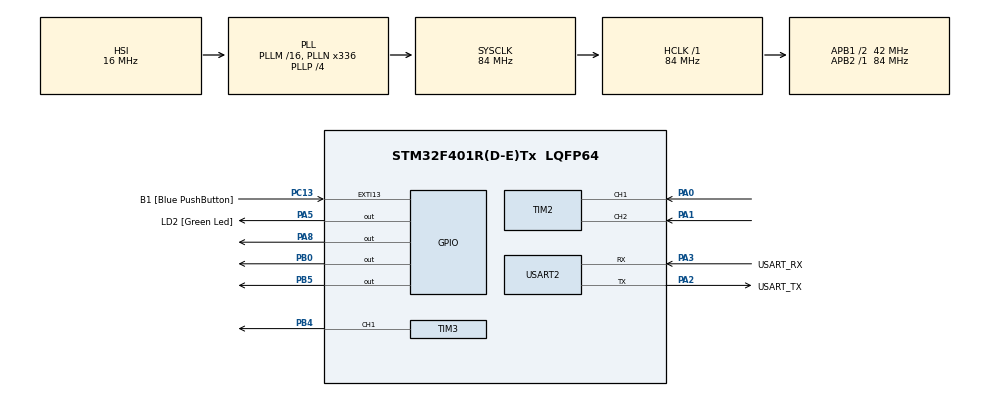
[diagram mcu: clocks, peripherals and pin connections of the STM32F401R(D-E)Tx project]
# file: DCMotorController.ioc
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Mcu.Family=STM32F4
Mcu.Name=STM32F401R(D-E)Tx
Mcu.Package=LQFP64
NVIC.PriorityGroup=NVIC_PRIORITYGROUP_4
PA0-WKUP.Signal=S_TIM2_CH1_ETR
PA1.Signal=S_TIM2_CH2
PA13.GPIO_Label=TMS
PA13.Mode=Serial_Wire
PA13.Signal=SYS_JTMS-SWDIO
PA14.GPIO_Label=TCK
PA14.Mode=Serial_Wire
PA14.Signal=SYS_JTCK-SWCLK
PA2.GPIO_Label=USART_TX
PA2.GPIO_Mode=GPIO_MODE_AF_PP
PA2.GPIO_PuPd=GPIO_NOPULL
PA2.GPIO_Speed=GPIO_SPEED_FREQ_LOW
PA2.Mode=Asynchronous
PA2.Signal=USART2_TX
PA3.GPIO_Label=USART_RX
PA3.GPIO_Mode=GPIO_MODE_AF_PP
PA3.GPIO_PuPd=GPIO_NOPULL
PA3.GPIO_Speed=GPIO_SPEED_FREQ_LOW
PA3.Mode=Asynchronous
PA3.Signal=USART2_RX
PA5.GPIO_Label=LD2 [Green Led]
PA5.GPIO_Mode=GPIO_MODE_OUTPUT_PP
PA5.GPIO_PuPd=GPIO_NOPULL
PA5.GPIO_Speed=GPIO_SPEED_FREQ_LOW
PA5.Signal=GPIO_Output
PA8.Signal=GPIO_Output
PB0.Signal=GPIO_Output
PB3.GPIO_Label=SWO
PB3.Signal=SYS_JTDO-SWO
PB4.Signal=S_TIM3_CH1
PB5.Signal=GPIO_Output
PC13-ANTI_TAMP.GPIO_Label=B1 [Blue PushButton]
PC13-ANTI_TAMP.GPIO_ModeDefaultEXTI=GPIO_MODE_IT_FALLING
PC13-ANTI_TAMP.GPIO_PuPd=GPIO_NOPULL
PC13-ANTI_TAMP.Signal=GPXTI13
PC14-OSC32_IN.Mode=LSE-External-Oscillator
PC14-OSC32_IN.Signal=RCC_OSC32_IN
PC15-OSC32_OUT.Mode=LSE-External-Oscillator
PC15-OSC32_OUT.Signal=RCC_OSC32_OUT
PH0\ -\ OSC_IN.Mode=HSE-External-Clock-Source
PH0\ -\ OSC_IN.Signal=RCC_OSC_IN
PH1\ -\ OSC_OUT.Mode=HSE-External-Clock-Source
PH1\ -\ OSC_OUT.Signal=RCC_OSC_OUT
ProjectManager.HeapSize=0x200
ProjectManager.StackSize=0x400
ProjectManager.TargetToolchain=STM32CubeIDE
RCC.48MHZClocksFreq_Value=48000000
RCC.AHBFreq_Value=84000000
RCC.APB1CLKDivider=RCC_HCLK_DIV2
RCC.APB1Freq_Value=42000000
RCC.APB1TimFreq_Value=84000000
RCC.APB2Freq_Value=84000000
RCC.APB2TimFreq_Value=84000000
RCC.CortexFreq_Value=84000000
RCC.HCLKFreq_Value=84000000
RCC.HSE_VALUE=8000000
RCC.HSI_VALUE=16000000
RCC.PLLN=336
RCC.PLLP=RCC_PLLP_DIV4
RCC.PLLQ=7
RCC.SYSCLKFreq_VALUE=84000000
RCC.SYSCLKSource=RCC_SYSCLKSOURCE_PLLCLK
RCC.VCOOutputFreq_Value=336000000
SH.S_TIM2_CH1_ETR.0=TIM2_CH1,Encoder_Interface
SH.S_TIM2_CH2.0=TIM2_CH2,Encoder_Interface
SH.S_TIM3_CH1.0=TIM3_CH1,PWM Generation1 CH1
TIM2.EncoderMode=TIM_ENCODERMODE_TI12
TIM2.IC1Filter=8
TIM2.IC2Filter=8
TIM3.Channel-PWM\ Generation1\ CH1=TIM_CHANNEL_1
TIM3.Period=4199
USART2.VirtualMode=VM_ASYNC
VP_TIM3_VS_ClockSourceINT.Mode=Internal
board=NUCLEO-F401RE

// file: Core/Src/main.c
/* USER CODE BEGIN Header */
/**
  ******************************************************************************
  * @file           : main.c
  * @brief          : Main program body
  ******************************************************************************
  * @attention
  *
  * Copyright (c) 2026 STMicroelectronics.
  * All rights reserved.
  *
  * This software is licensed under terms that can be found in the LICENSE file
  * in the root directory of this software component.
  * If no LICENSE file comes with this software, it is provided AS-IS.
  *
  ******************************************************************************
  */
/* USER CODE END Header */
#include "main.h"

/* USER CODE BEGIN Includes */
#include <stdio.h>
/* USER CODE END Includes */

/* USER CODE BEGIN PD */
#define COUNTS_PER_MOTOR_REV       12.0f // encoder counts for one motor turn
#define CONTROL_PERIOD_MS          150U // update motor speed every 150 ms
#define GEAR_RATIO                 235.0f
#define COUNTS_PER_OUTPUT_REV      (COUNTS_PER_MOTOR_REV * GEAR_RATIO) // encoder counts for one output shaft turn

#define KP_PWM_PER_RPM             0.50f // P control reacts to current speed error
#define PWM_MIN_RUNNING_PERCENT    20.0f
#define PWM_MAX_RUNNING_PERCENT    80.0f
#define KI_PWM_PER_RPM_SECOND      0.20f // I control corrects error left over time
#define INTEGRAL_ERROR_LIMIT_RPM_S 25.0f // stops I control growing too large

#define STEP_HOLD_MS               10000U // keep each target speed for 10 seconds
#define MOTOR_TEST_DURATION_MS     (4U * STEP_HOLD_MS) // run four speed steps for 40 seconds

#define TARGET_LOW_RPM             30.0f // low speed target
#define TARGET_MEDIUM_RPM          40.0f // medium speed target
#define TARGET_HIGH_RPM            50.0f // high speed target

#define PWM_FF_LOW_PERCENT         43.0f // starting PWM found for 30 RPM
#define PWM_FF_MEDIUM_PERCENT      55.0f // starting PWM found for 40 RPM
#define PWM_FF_HIGH_PERCENT        66.0f // starting PWM found for 50 RPM
/* USER CODE END PD */

TIM_HandleTypeDef htim2;
TIM_HandleTypeDef htim3;

UART_HandleTypeDef huart2;

/* USER CODE BEGIN PV */
int32_t encoder_count = 0; // current encoder reading
int32_t previous_encoder_count = 0; // encoder reading from last update

float target_rpm = 0.0f; // speed the motor should reach
float actual_rpm = 0.0f; // speed measured from encoder
float speed_error_rpm = 0.0f; // difference between target and actual speed
float pwm_command_percent = 0.0f; // PWM worked out by controller
float integral_error_rpm_s = 0.0f; // speed error saved over time
float integral_term_percent = 0.0f; // I control correction in PWM percent

uint32_t previous_sample_time_ms = 0;
uint32_t motor_start_time_ms = 0;

uint8_t current_pwm_duty = 0U; // PWM currently sent to motor
uint8_t motor_test_running = 0U; // 1 while automatic test is running

float pwm_feedforward_percent = 0.0f; // starting PWM for current target speed
/* USER CODE END PV */

void SystemClock_Config(void);
static void MX_GPIO_Init(void);
static void MX_USART2_UART_Init(void);
static void MX_TIM2_Init(void);
static void MX_TIM3_Init(void);
/* USER CODE BEGIN PFP */
static void set_motor_pwm(uint8_t duty_percent);
static void motor_forward(void);
static void motor_reverse(void);
static void motor_stop(void);
/* USER CODE END PFP */

/* USER CODE BEGIN 0 */
static void set_motor_pwm(uint8_t duty_percent) // changes duty percent into timer compare value
{
  if (duty_percent > 100U)
  {
    duty_percent = 100U;
  }

  uint32_t compare_value =
      ((uint32_t)duty_percent * 4200U) / 100U;

  __HAL_TIM_SET_COMPARE(&htim3,
                        TIM_CHANNEL_1,
                        compare_value);
}

static void motor_forward(void) // sets driver pins for forward direction
{

  set_motor_pwm(0U);

  HAL_GPIO_WritePin(GPIOB, GPIO_PIN_0, GPIO_PIN_SET);
  HAL_GPIO_WritePin(GPIOB, GPIO_PIN_5, GPIO_PIN_RESET);
  HAL_GPIO_WritePin(GPIOA, GPIO_PIN_8, GPIO_PIN_SET);
}

static void motor_reverse(void) // sets driver pins for reverse direction
{

  set_motor_pwm(0U);

  HAL_GPIO_WritePin(GPIOB, GPIO_PIN_0, GPIO_PIN_RESET);
  HAL_GPIO_WritePin(GPIOB, GPIO_PIN_5, GPIO_PIN_SET);
  HAL_GPIO_WritePin(GPIOA, GPIO_PIN_8, GPIO_PIN_SET);
}

static void motor_stop(void) // stops PWM and disables motor driver
{

  set_motor_pwm(0U);

  HAL_GPIO_WritePin(GPIOA, GPIO_PIN_8, GPIO_PIN_RESET);

  HAL_GPIO_WritePin(GPIOB,
                    GPIO_PIN_0 | GPIO_PIN_5,
                    GPIO_PIN_RESET);
}
/* USER CODE END 0 */

int main(void)
{

  /* MCU Configuration--------------------------------------------------------*/

  /* Reset of all peripherals, Initializes the Flash interface and the Systick. */
  HAL_Init();

  /* Configure the system clock */
  SystemClock_Config();

  /* Initialize all configured peripherals */
  MX_GPIO_Init();
  MX_USART2_UART_Init();
  MX_TIM2_Init();
  MX_TIM3_Init();
  /* USER CODE BEGIN 2 */

  motor_stop(); // keep motor off during setup

  // start the encoder counter
  if (HAL_TIM_Encoder_Start(&htim2, TIM_CHANNEL_ALL) != HAL_OK)
  {
    Error_Handler();
  }

  // start the PWM output
  if (HAL_TIM_PWM_Start(&htim3, TIM_CHANNEL_1) != HAL_OK)
  {
    Error_Handler();
  }

  target_rpm = TARGET_LOW_RPM; // start with 30 RPM target
  pwm_feedforward_percent = PWM_FF_LOW_PERCENT; // use starting PWM found for 30 RPM

  printf("timestamp_ms,target_rpm,actual_rpm,error_rpm,i_term_percent,pwm_duty\r\n"); // send CSV headings to Python

  HAL_Delay(3000);

  __HAL_TIM_SET_COUNTER(&htim2, 0); // clear old encoder count before test
  previous_encoder_count = 0;
  previous_sample_time_ms = HAL_GetTick();
  integral_error_rpm_s = 0.0f;
  integral_term_percent = 0.0f;

  motor_forward(); // choose forward direction

  pwm_command_percent = pwm_feedforward_percent;

  current_pwm_duty =
      (uint8_t)(pwm_command_percent + 0.5f);

  set_motor_pwm(current_pwm_duty); // start motor with low speed PWM

  motor_start_time_ms = HAL_GetTick(); // save when the 40 second test starts
  motor_test_running = 1U; // allow automatic speed test to run
  /* USER CODE END 2 */

  /* Infinite loop */
  while (1)
  {

    /* USER CODE BEGIN 3 */

	  uint32_t now_ms = HAL_GetTick(); // read current time

	  if (motor_test_running != 0U) // only choose targets while test is running
	  {
	      uint32_t test_elapsed_ms =
	          now_ms - motor_start_time_ms;

	      if (test_elapsed_ms < STEP_HOLD_MS)
	      {
	          target_rpm = TARGET_LOW_RPM; // run at 30 RPM for first 10 seconds
	          pwm_feedforward_percent =
	              PWM_FF_LOW_PERCENT;
	      }
	      else if (test_elapsed_ms <
	               (2U * STEP_HOLD_MS))
	      {
	          target_rpm = TARGET_MEDIUM_RPM; // run at 40 RPM for next 10 seconds
	          pwm_feedforward_percent =
	              PWM_FF_MEDIUM_PERCENT;
	      }
	      else if (test_elapsed_ms <
	               (3U * STEP_HOLD_MS))
	      {
	          target_rpm = TARGET_HIGH_RPM; // run at 50 RPM for next 10 seconds
	          pwm_feedforward_percent =
	              PWM_FF_HIGH_PERCENT;
	      }
	      else
	      {
	          target_rpm = TARGET_LOW_RPM; // return to 30 RPM for final 10 seconds
	          pwm_feedforward_percent =
	              PWM_FF_LOW_PERCENT;
	      }
	  }
	  // measure speed every 150 ms and update PI while running
	      if ((now_ms - previous_sample_time_ms) >= CONTROL_PERIOD_MS)
	      {
	    	  // read current encoder count
	          encoder_count =
	              (int32_t)__HAL_TIM_GET_COUNTER(&htim2);

	          // find encoder movement since last update
	          int32_t delta_counts =
	              encoder_count - previous_encoder_count;

	          uint32_t elapsed_ms =
	              now_ms - previous_sample_time_ms;

	          float elapsed_seconds =
	              (float)elapsed_ms / 1000.0f;

	          // change encoder movement into output shaft RPM
	          actual_rpm =
	              ((float)delta_counts * 60000.0f) /
	              (COUNTS_PER_OUTPUT_REV * (float)elapsed_ms);

	          speed_error_rpm =
	              target_rpm - actual_rpm;

	          if (motor_test_running != 0U)
	          {
	              // add speed error over time for I control
	              integral_error_rpm_s +=
	                  speed_error_rpm * elapsed_seconds;

	              // keep saved error between safe limits
	              if (integral_error_rpm_s >
	                  INTEGRAL_ERROR_LIMIT_RPM_S)
	              {
	                  integral_error_rpm_s =
	                      INTEGRAL_ERROR_LIMIT_RPM_S;
	              }
	              else if (integral_error_rpm_s <
	                       (-INTEGRAL_ERROR_LIMIT_RPM_S))
	              {
	                  integral_error_rpm_s =
	                      -INTEGRAL_ERROR_LIMIT_RPM_S;
	              }

	              integral_term_percent =
	                  KI_PWM_PER_RPM_SECOND *
	                  integral_error_rpm_s;

	              // use starting PWM plus P and I corrections
	              pwm_command_percent =
	                  pwm_feedforward_percent +
	                  (KP_PWM_PER_RPM * speed_error_rpm) +
	                  integral_term_percent;
	              // keep running PWM between 20 and 80 percent
	              if (pwm_command_percent >
	                  PWM_MAX_RUNNING_PERCENT)
	              {
	                  pwm_command_percent =
	                      PWM_MAX_RUNNING_PERCENT;
	              }
	              else if (pwm_command_percent <
	                       PWM_MIN_RUNNING_PERCENT)
	              {
	                  pwm_command_percent =
	                      PWM_MIN_RUNNING_PERCENT;
	              }

	              current_pwm_duty =
	                  (uint8_t)(pwm_command_percent + 0.5f);

	              set_motor_pwm(current_pwm_duty);
	          }
	          // send one CSV row to Python
	          printf("%lu,%.1f,%.1f,%.1f,%.2f,%u\r\n",
	                 (unsigned long)now_ms,
	                 target_rpm,
	                 actual_rpm,
	                 speed_error_rpm,
	                 integral_term_percent,
	                 (unsigned int)current_pwm_duty);

	          previous_encoder_count = encoder_count; // save encoder count for next update
	          previous_sample_time_ms = now_ms; // save time for next update
	      }
	      // stop motor after 40 seconds
	      if ((motor_test_running != 0U) &&
	          ((now_ms - motor_start_time_ms) >=
	           MOTOR_TEST_DURATION_MS))
	      {
	          motor_stop();

	          target_rpm = 0.0f; // show 0 RPM target after motor stops
	          pwm_feedforward_percent = 0.0f; // clear starting PWM after test

	          pwm_command_percent = 0.0f;
	          integral_error_rpm_s = 0.0f;
	          integral_term_percent = 0.0f;
	          current_pwm_duty = 0U;
	          motor_test_running = 0U;
	      }
	  }
  /* USER CODE END 3 */
}

void SystemClock_Config(void)
{
  RCC_OscInitTypeDef RCC_OscInitStruct = {0};
  RCC_ClkInitTypeDef RCC_ClkInitStruct = {0};

  /** Configure the main internal regulator output voltage
  */
  __HAL_RCC_PWR_CLK_ENABLE();
  __HAL_PWR_VOLTAGESCALING_CONFIG(PWR_REGULATOR_VOLTAGE_SCALE2);

  /** Initializes the RCC Oscillators according to the specified parameters
  * in the RCC_OscInitTypeDef structure.
  */
  RCC_OscInitStruct.OscillatorType = RCC_OSCILLATORTYPE_HSI;
  RCC_OscInitStruct.HSIState = RCC_HSI_ON;
  RCC_OscInitStruct.HSICalibrationValue = RCC_HSICALIBRATION_DEFAULT;
  RCC_OscInitStruct.PLL.PLLState = RCC_PLL_ON;
  RCC_OscInitStruct.PLL.PLLSource = RCC_PLLSOURCE_HSI;
  RCC_OscInitStruct.PLL.PLLM = 16;
  RCC_OscInitStruct.PLL.PLLN = 336;
  RCC_OscInitStruct.PLL.PLLP = RCC_PLLP_DIV4;
  RCC_OscInitStruct.PLL.PLLQ = 7;
  if (HAL_RCC_OscConfig(&RCC_OscInitStruct) != HAL_OK)
  {
    Error_Handler();
  }

  /** Initializes the CPU, AHB and APB buses clocks
  */
  RCC_ClkInitStruct.ClockType = RCC_CLOCKTYPE_HCLK|RCC_CLOCKTYPE_SYSCLK
                              |RCC_CLOCKTYPE_PCLK1|RCC_CLOCKTYPE_PCLK2;
  RCC_ClkInitStruct.SYSCLKSource = RCC_SYSCLKSOURCE_PLLCLK;
  RCC_ClkInitStruct.AHBCLKDivider = RCC_SYSCLK_DIV1;
  RCC_ClkInitStruct.APB1CLKDivider = RCC_HCLK_DIV2;
  RCC_ClkInitStruct.APB2CLKDivider = RCC_HCLK_DIV1;

  if (HAL_RCC_ClockConfig(&RCC_ClkInitStruct, FLASH_LATENCY_2) != HAL_OK)
  {
    Error_Handler();
  }
}

static void MX_TIM2_Init(void)
{

  TIM_Encoder_InitTypeDef sConfig = {0};
  TIM_MasterConfigTypeDef sMasterConfig = {0};

  htim2.Instance = TIM2;
  htim2.Init.Prescaler = 0;
  htim2.Init.CounterMode = TIM_COUNTERMODE_UP;
  htim2.Init.Period = 4294967295;
  htim2.Init.ClockDivision = TIM_CLOCKDIVISION_DIV1;
  htim2.Init.AutoReloadPreload = TIM_AUTORELOAD_PRELOAD_DISABLE;
  sConfig.EncoderMode = TIM_ENCODERMODE_TI12;
  sConfig.IC1Polarity = TIM_ICPOLARITY_RISING;
  sConfig.IC1Selection = TIM_ICSELECTION_DIRECTTI;
  sConfig.IC1Prescaler = TIM_ICPSC_DIV1;
  sConfig.IC1Filter = 8;
  sConfig.IC2Polarity = TIM_ICPOLARITY_RISING;
  sConfig.IC2Selection = TIM_ICSELECTION_DIRECTTI;
  sConfig.IC2Prescaler = TIM_ICPSC_DIV1;
  sConfig.IC2Filter = 8;
  if (HAL_TIM_Encoder_Init(&htim2, &sConfig) != HAL_OK)
  {
    Error_Handler();
  }
  sMasterConfig.MasterOutputTrigger = TIM_TRGO_RESET;
  sMasterConfig.MasterSlaveMode = TIM_MASTERSLAVEMODE_DISABLE;
  if (HAL_TIMEx_MasterConfigSynchronization(&htim2, &sMasterConfig) != HAL_OK)
  {
    Error_Handler();
  }

}

static void MX_TIM3_Init(void)
{

  TIM_ClockConfigTypeDef sClockSourceConfig = {0};
  TIM_MasterConfigTypeDef sMasterConfig = {0};
  TIM_OC_InitTypeDef sConfigOC = {0};

  htim3.Instance = TIM3;
  htim3.Init.Prescaler = 0;
  htim3.Init.CounterMode = TIM_COUNTERMODE_UP;
  htim3.Init.Period = 4199;
  htim3.Init.ClockDivision = TIM_CLOCKDIVISION_DIV1;
  htim3.Init.AutoReloadPreload = TIM_AUTORELOAD_PRELOAD_DISABLE;
  if (HAL_TIM_Base_Init(&htim3) != HAL_OK)
  {
    Error_Handler();
  }
  sClockSourceConfig.ClockSource = TIM_CLOCKSOURCE_INTERNAL;
  if (HAL_TIM_ConfigClockSource(&htim3, &sClockSourceConfig) != HAL_OK)
  {
    Error_Handler();
  }
  if (HAL_TIM_PWM_Init(&htim3) != HAL_OK)
  {
    Error_Handler();
  }
  sMasterConfig.MasterOutputTrigger = TIM_TRGO_RESET;
  sMasterConfig.MasterSlaveMode = TIM_MASTERSLAVEMODE_DISABLE;
  if (HAL_TIMEx_MasterConfigSynchronization(&htim3, &sMasterConfig) != HAL_OK)
  {
    Error_Handler();
  }
  sConfigOC.OCMode = TIM_OCMODE_PWM1;
  sConfigOC.Pulse = 0;
  sConfigOC.OCPolarity = TIM_OCPOLARITY_HIGH;
  sConfigOC.OCFastMode = TIM_OCFAST_DISABLE;
  if (HAL_TIM_PWM_ConfigChannel(&htim3, &sConfigOC, TIM_CHANNEL_1) != HAL_OK)
  {
    Error_Handler();
  }
  HAL_TIM_MspPostInit(&htim3);

}

static void MX_USART2_UART_Init(void)
{

  huart2.Instance = USART2;
  huart2.Init.BaudRate = 115200;
  huart2.Init.WordLength = UART_WORDLENGTH_8B;
  huart2.Init.StopBits = UART_STOPBITS_1;
  huart2.Init.Parity = UART_PARITY_NONE;
  huart2.Init.Mode = UART_MODE_TX_RX;
  huart2.Init.HwFlowCtl = UART_HWCONTROL_NONE;
  huart2.Init.OverSampling = UART_OVERSAMPLING_16;
  if (HAL_UART_Init(&huart2) != HAL_OK)
  {
    Error_Handler();
  }

}

static void MX_GPIO_Init(void)
{
  GPIO_InitTypeDef GPIO_InitStruct = {0};

  /* GPIO Ports Clock Enable */
  __HAL_RCC_GPIOC_CLK_ENABLE();
  __HAL_RCC_GPIOH_CLK_ENABLE();
  __HAL_RCC_GPIOA_CLK_ENABLE();
  __HAL_RCC_GPIOB_CLK_ENABLE();

  /*Configure GPIO pin Output Level */
  HAL_GPIO_WritePin(GPIOA, LD2_Pin|GPIO_PIN_8, GPIO_PIN_RESET);

  /*Configure GPIO pin Output Level */
  HAL_GPIO_WritePin(GPIOB, GPIO_PIN_0|GPIO_PIN_5, GPIO_PIN_RESET);

  /*Configure GPIO pin : B1_Pin */
  GPIO_InitStruct.Pin = B1_Pin;
  GPIO_InitStruct.Mode = GPIO_MODE_IT_FALLING;
  GPIO_InitStruct.Pull = GPIO_NOPULL;
  HAL_GPIO_Init(B1_GPIO_Port, &GPIO_InitStruct);

  /*Configure GPIO pins : LD2_Pin PA8 */
  GPIO_InitStruct.Pin = LD2_Pin|GPIO_PIN_8;
  GPIO_InitStruct.Mode = GPIO_MODE_OUTPUT_PP;
  GPIO_InitStruct.Pull = GPIO_NOPULL;
  GPIO_InitStruct.Speed = GPIO_SPEED_FREQ_LOW;
  HAL_GPIO_Init(GPIOA, &GPIO_InitStruct);

  /*Configure GPIO pins : PB0 PB5 */
  GPIO_InitStruct.Pin = GPIO_PIN_0|GPIO_PIN_5;
  GPIO_InitStruct.Mode = GPIO_MODE_OUTPUT_PP;
  GPIO_InitStruct.Pull = GPIO_NOPULL;
  GPIO_InitStruct.Speed = GPIO_SPEED_FREQ_LOW;
  HAL_GPIO_Init(GPIOB, &GPIO_InitStruct);

}

/* USER CODE BEGIN 4 */
int _write(int file, char *ptr, int len)
{
  (void)file;

  HAL_UART_Transmit(&huart2,(uint8_t *)ptr,(uint16_t)len,HAL_MAX_DELAY);

  return len;
}
/* USER CODE END 4 */

void Error_Handler(void)
{
  __disable_irq();
  while (1)
  {
  }
}
